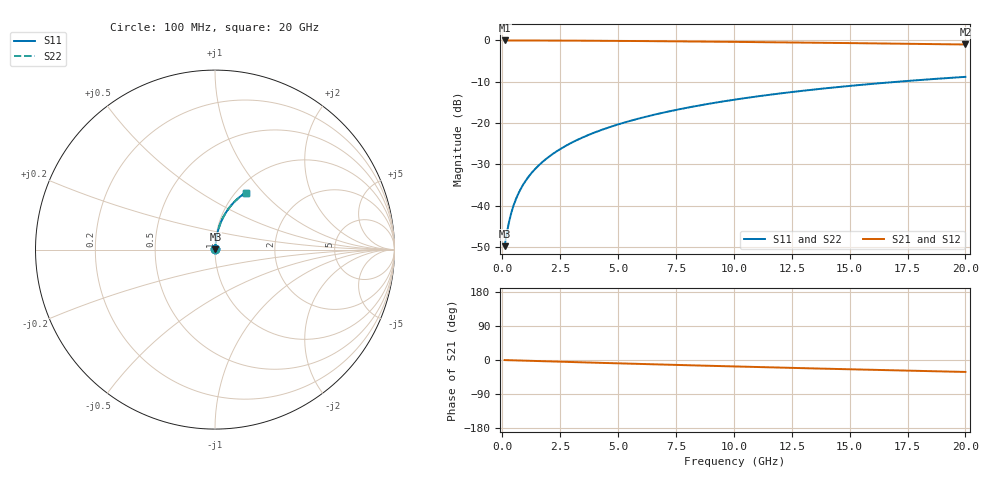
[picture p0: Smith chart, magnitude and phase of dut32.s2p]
! Touchstone file exported from HFSS 2024.1.0
!  File:  C:/UserFiles/LocalFiles/RDL_TSV_Batchsim/temp_RDL_top_32_1778680655.aedt
!  Generated:  09:59:50 PM May 13, 2026
!  Design:  RDL_top
!  Project:  temp_RDL_top_32_1778680655
!  Setup:  Setup1
!  Solution:  Sweep
! Variables:
!  dtsv = 10.80580581um
!  hbump = 3um
!  htsv = 77.51um
!  ldown = 100um
!  lrdl = 397.4um
!  p = 40
!  p1 = 48.1um
!  rhole = 1um
!  t = 450um
!  tdown = 3.915915916um
!  trdl = 4.2um
!  wdown = 15.38538539um
!  wrdl = 13.76um
# GHz S MA R 50.000000
! Terminal data exported
! Port[1] = Box2_T1
! Port[2] = Box2_T2
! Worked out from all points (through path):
!   200 points, 100 MHz to 20 GHz, reference 50 ohm
!   highest |S21| = -0.02 dB at 100 MHz (marker M1); lowest = -1.0 dB at 20 GHz (marker M2)
!   group delay of S21, straight-line fit = 4.36 ps
!   lowest |S11| = -49.8 dB at 100 MHz (marker M3), VSWR 1.01, Z = 50.3 + j0.202 ohm
!   |S11| at or under -10 dB: start of sweep to 17.09 GHz
!   |S22| runs from -49.8 to -8.8 dB; largest |S21 - S12| = 2.5e-15
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0.1  0.003239 38.3  0.9975 -0.2  0.9975 -0.2  0.003239 38.3
! Gamma 0 0 0 0
! Port Impedance 50 0 50 0
0.2  0.004763 57.4  0.9974 -0.4  0.9974 -0.4  0.004763 57.4
0.3  0.006547 66.5  0.9973 -0.6  0.9973 -0.6  0.006547 66.5
0.4  0.008417 71.5  0.9972 -0.7  0.9972 -0.7  0.008417 71.5
0.5  0.01032 74.6  0.9971 -0.9  0.9971 -0.9  0.01032 74.5
0.6  0.01223 76.6  0.997 -1.1  0.997 -1.1  0.01223 76.6
0.8  0.01604 79.1  0.9968 -1.5  0.9968 -1.5  0.01605 79.1
1.1  0.02176 81.1  0.9965 -2.0  0.9965 -2.0  0.02176 81.1
1.5  0.02935 82.3  0.9959 -2.7  0.9959 -2.7  0.02935 82.3
1.8  0.03505 82.8  0.9954 -3.2  0.9954 -3.2  0.03505 82.8
2.1  0.04076 83.0  0.9948 -3.8  0.9948 -3.8  0.04076 83.0
2.7  0.05219 83.1  0.9934 -4.8  0.9934 -4.8  0.05219 83.1
3.5  0.06748 82.8  0.991 -6.2  0.991 -6.2  0.06748 82.8
4.2  0.08088 82.3  0.9885 -7.5  0.9885 -7.5  0.08088 82.3
5  0.09621 81.6  0.9853 -8.8  0.9853 -8.8  0.09621 81.6
5.9  0.1135 80.6  0.9813 -10.3  0.9813 -10.3  0.1135 80.6
6.8  0.1307 79.6  0.9769 -11.8  0.9769 -11.8  0.1307 79.6
8.3  0.1592 77.7  0.969 -14.3  0.969 -14.3  0.1592 77.7
10.1  0.1931 75.3  0.9585 -17.1  0.9585 -17.1  0.1931 75.3
13.4  0.2532 70.7  0.9377 -22.2  0.9377 -22.2  0.2532 70.7
16.7  0.3098 66.0  0.9151 -26.9  0.9151 -26.9  0.3098 66.0
20  0.362 61.5  0.8915 -31.5  0.8915 -31.5  0.362 61.5
